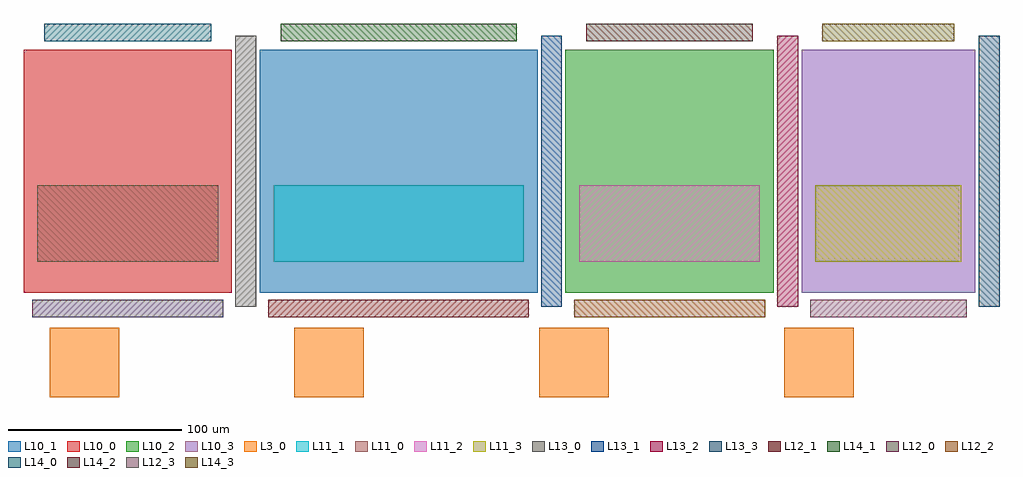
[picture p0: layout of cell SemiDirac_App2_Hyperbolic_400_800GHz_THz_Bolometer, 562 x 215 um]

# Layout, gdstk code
import gdstk
lib = gdstk.Library(unit=1e-6, precision=1e-09)
def R(c, l, rs):  # rectangles x0, y0, x1, y1
    for r in rs: c.add(gdstk.rectangle(r[:2], r[2:], *l))
def A(c, l, x, y, w, h, nx, ny, dx, dy):  # array of equal rectangles
    R(c, l, [(x+i*dx, y+j*dy, x+i*dx+w, y+j*dy+h) for i in range(nx) for j in range(ny)])
L3_0 = (3, 0)
L10_0 = (10, 0)
L10_1 = (10, 1)
L10_2 = (10, 2)
L10_3 = (10, 3)
L11_0 = (11, 0)
L11_1 = (11, 1)
L11_2 = (11, 2)
L11_3 = (11, 3)
L12_0 = (12, 0)
L12_1 = (12, 1)
L12_2 = (12, 2)
L12_3 = (12, 3)
L13_0 = (13, 0)
L13_1 = (13, 1)
L13_2 = (13, 2)
L13_3 = (13, 3)
L14_0 = (14, 0)
L14_1 = (14, 1)
L14_2 = (14, 2)
L14_3 = (14, 3)

semidirac_app2_hyperboli = lib.new_cell('SemiDirac_App2_Hyperbolic_400_800GHz_THz_Bolometer')
A(semidirac_app2_hyperboli, L3_0, 15, -60, 40, 40, 4, 1, 141, 0)
R(semidirac_app2_hyperboli, L10_0, [(0,0,120,140)])
R(semidirac_app2_hyperboli, L10_1, [(136,0,296,140)])
R(semidirac_app2_hyperboli, L10_2, [(312,0,432,140)])
R(semidirac_app2_hyperboli, L10_3, [(448,0,548,140)])
R(semidirac_app2_hyperboli, L11_0, [(8,18,112,62)])
R(semidirac_app2_hyperboli, L11_1, [(144,18,288,62)])
R(semidirac_app2_hyperboli, L11_2, [(320,18,424,62)])
R(semidirac_app2_hyperboli, L11_3, [(456,18,540,62)])
R(semidirac_app2_hyperboli, L12_0, [(5,-14,115,-4)])
R(semidirac_app2_hyperboli, L12_1, [(141,-14,291,-4)])
R(semidirac_app2_hyperboli, L12_2, [(317,-14,427,-4)])
R(semidirac_app2_hyperboli, L12_3, [(453,-14,543,-4)])
R(semidirac_app2_hyperboli, L13_0, [(122,-8,134,148)])
R(semidirac_app2_hyperboli, L13_1, [(298,-8,310,148)])
R(semidirac_app2_hyperboli, L13_2, [(434,-8,446,148)])
R(semidirac_app2_hyperboli, L13_3, [(550,-8,562,148)])
R(semidirac_app2_hyperboli, L14_0, [(12,145,108,155)])
R(semidirac_app2_hyperboli, L14_1, [(148,145,284,155)])
R(semidirac_app2_hyperboli, L14_2, [(324,145,420,155)])
R(semidirac_app2_hyperboli, L14_3, [(460,145,536,155)])

lib.write_gds('SemiDirac_App2_Hyperbolic_400_800GHz_THz_Bolometer.gds')
